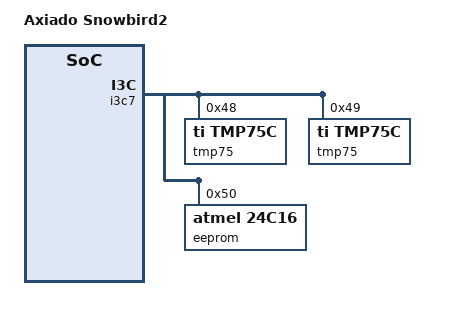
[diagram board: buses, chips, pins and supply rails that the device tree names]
// SPDX-License-Identifier: GPL-2.0+
/*
 * Copyright (c) 2021-25 Axiado Corporation (or its affiliates).
 */

/dts-v1/;

#include "sb2.dts"

/ {
	model = "Axiado Snowbird2";
	aliases {
		i2c0 = &i3c0;
		i2c1 = &i3c1;
		i2c2 = &i3c2;
		i2c3 = &i3c3;
		i2c4 = &i3c4;
		i2c5 = &i3c5;
		i2c6 = &i3c6;
		i2c7 = &i3c7;
		i2c8 = &i3c8;
		i2c9 = &i3c9;
		i2c10 = &i3c10;
		i2c11 = &i3c11;
		i2c12 = &i3c12;
		i2c13 = &i3c13;
		i2c14 = &i3c14;
		i2c15 = &i3c15;
		i2c16 = &i3c16;
	};
};

&i3c7 {
	tmp75@48 {
		compatible = "ti,tmp75c";
		reg = <0x48 0x0 0x50>;
	};
	tmp75@49 {
		compatible = "ti,tmp75c";
		reg = <0x49 0x0 0x50>;
	};
	eeprom@50 {
		compatible = "atmel,24c16";
		reg = <0x50 0x0 0x50>;
	};

};
